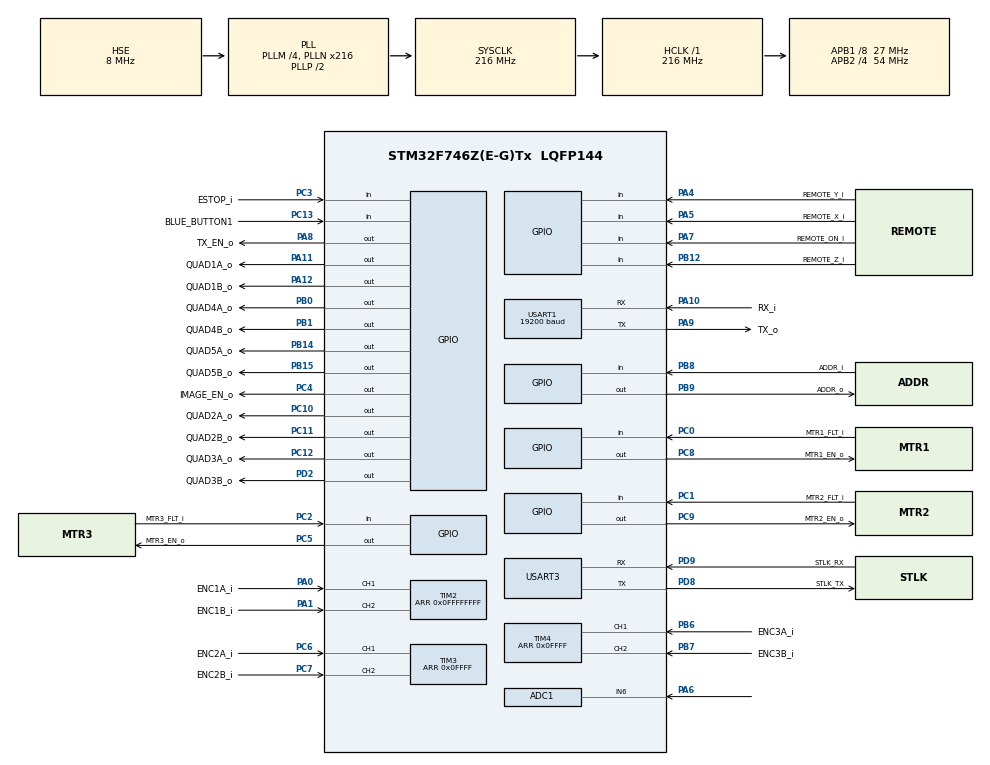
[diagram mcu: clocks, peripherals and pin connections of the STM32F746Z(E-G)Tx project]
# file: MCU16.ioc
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ADC1.Channel-0\#ChannelRegularConversion=ADC_CHANNEL_6
ADC1.ClockPrescaler=ADC_CLOCKPRESCALER_PCLK_DIV2
ADC1.ContinuousConvMode=DISABLE
ADC1.DMAContinuousRequests=DISABLE
ADC1.DataAlign=ADC_DATAALIGN_RIGHT
ADC1.DiscontinuousConvMode=DISABLE
ADC1.EOCSelection=EOC_SINGLE_CONV
ADC1.EnableAnalogWatchDog=false
ADC1.ExternalTrigConvEdge=ADC_EXTERNALTRIGCONVEDGE_NONE
ADC1.InjNumberOfConversion=0
ADC1.NbrOfConversion=1
ADC1.NbrOfConversionFlag=1
ADC1.Rank-0\#ChannelRegularConversion=1
ADC1.Resolution=ADC_RESOLUTION12b
ADC1.SamplingTime-0\#ChannelRegularConversion=ADC_SAMPLETIME_3CYCLES
ADC1.ScanConvMode=DISABLE
ADC1.master=1
Mcu.Family=STM32F7
Mcu.Name=STM32F746Z(E-G)Tx
Mcu.Package=LQFP144
NVIC.PriorityGroup=NVIC_PRIORITYGROUP_4
NVIC.TIM1_BRK_TIM9_IRQn=true\:2\:0\:true
NVIC.TIM1_TRG_COM_TIM11_IRQn=true\:1\:0\:true
NVIC.TIM1_UP_TIM10_IRQn=true\:1\:0\:true
NVIC.TIM8_BRK_TIM12_IRQn=true\:1\:0\:true
NVIC.TIM8_TRG_COM_TIM14_IRQn=true\:1\:0\:true
NVIC.TIM8_UP_TIM13_IRQn=true\:0\:0\:false
NVIC.USART1_IRQn=true\:1\:0\:true
PA0/WKUP.GPIO_Label=ENC1A_i
PA0/WKUP.GPIO_PuPd=GPIO_PULLUP
PA0/WKUP.GPIO_Speed=GPIO_SPEED_FAST
PA0/WKUP.Signal=S_TIM2_CH1_ETR
PA1.GPIO_Label=ENC1B_i
PA1.GPIO_PuPd=GPIO_PULLUP
PA1.GPIO_Speed=GPIO_SPEED_FAST
PA1.Signal=S_TIM2_CH2
PA10.GPIO_Label=RX_i
PA10.Mode=Asynchronous
PA10.Signal=USART1_RX
PA11.GPIO_Label=QUAD1A_o
PA11.GPIO_PuPd=GPIO_PULLUP
PA11.GPIO_Speed=GPIO_SPEED_MEDIUM
PA11.Signal=GPIO_Output
PA12.GPIO_Label=QUAD1B_o
PA12.GPIO_PuPd=GPIO_PULLUP
PA12.GPIO_Speed=GPIO_SPEED_MEDIUM
PA12.Signal=GPIO_Output
PA13.GPIO_Label=TMS
PA13.Mode=Trace-Asynchronous_SW
PA13.Signal=SYS_JTMS-SWDIO
PA14.GPIO_Label=TCK
PA14.Mode=Trace-Asynchronous_SW
PA14.Signal=SYS_JTCK-SWCLK
PA4.GPIO_Label=REMOTE_Y_i
PA4.GPIO_PuPd=GPIO_PULLUP
PA4.Signal=GPIO_Input
PA5.GPIO_Label=REMOTE_X_i
PA5.GPIO_PuPd=GPIO_PULLUP
PA5.Signal=GPIO_Input
PA6.Signal=ADCx_IN6
PA7.GPIO_Label=REMOTE_ON_i
PA7.GPIO_PuPd=GPIO_PULLUP
PA7.Signal=GPIO_Input
PA8.GPIO_Label=TX_EN_o
PA8.GPIO_PuPd=GPIO_PULLDOWN
PA8.Signal=GPIO_Output
PA9.GPIO_Label=TX_o
PA9.Mode=Asynchronous
PA9.Signal=USART1_TX
PB0.GPIO_Label=QUAD4A_o
PB0.GPIO_PuPd=GPIO_PULLUP
PB0.GPIO_Speed=GPIO_SPEED_MEDIUM
PB0.Signal=GPIO_Output
PB1.GPIO_Label=QUAD4B_o
PB1.GPIO_PuPd=GPIO_PULLUP
PB1.GPIO_Speed=GPIO_SPEED_MEDIUM
PB1.Signal=GPIO_Output
PB12.GPIO_Label=REMOTE_Z_i
PB12.GPIO_PuPd=GPIO_PULLUP
PB12.Signal=GPIO_Input
PB14.GPIO_Label=QUAD5A_o
PB14.GPIO_PuPd=GPIO_PULLUP
PB14.GPIO_Speed=GPIO_SPEED_MEDIUM
PB14.Signal=GPIO_Output
PB15.GPIO_Label=QUAD5B_o
PB15.GPIO_PuPd=GPIO_PULLUP
PB15.GPIO_Speed=GPIO_SPEED_MEDIUM
PB15.Signal=GPIO_Output
PB3.GPIO_Label=SWO
PB3.Mode=Trace-Asynchronous_SW
PB3.Signal=SYS_JTDO-SWO
PB6.GPIO_Label=ENC3A_i
PB6.GPIO_PuPd=GPIO_PULLUP
PB6.GPIO_Speed=GPIO_SPEED_FAST
PB6.Signal=S_TIM4_CH1
PB7.GPIO_Label=ENC3B_i
PB7.GPIO_PuPd=GPIO_PULLUP
PB7.GPIO_Speed=GPIO_SPEED_FAST
PB7.Signal=S_TIM4_CH2
PB8.GPIO_Label=ADDR_i
PB8.GPIO_PuPd=GPIO_PULLUP
PB8.Signal=GPIO_Input
PB9.GPIO_Label=ADDR_o
PB9.GPIO_PuPd=GPIO_PULLUP
PB9.PinState=GPIO_PIN_SET
PB9.Signal=GPIO_Output
PC0.GPIO_Label=MTR1_FLT_i
PC0.GPIO_PuPd=GPIO_PULLUP
PC0.Signal=GPIO_Input
PC1.GPIO_Label=MTR2_FLT_i
PC1.GPIO_PuPd=GPIO_PULLUP
PC1.Signal=GPIO_Input
PC10.GPIO_Label=QUAD2A_o
PC10.GPIO_PuPd=GPIO_PULLUP
PC10.GPIO_Speed=GPIO_SPEED_MEDIUM
PC10.Signal=GPIO_Output
PC11.GPIO_Label=QUAD2B_o
PC11.GPIO_PuPd=GPIO_PULLUP
PC11.GPIO_Speed=GPIO_SPEED_MEDIUM
PC11.Signal=GPIO_Output
PC12.GPIO_Label=QUAD3A_o
PC12.GPIO_PuPd=GPIO_PULLUP
PC12.GPIO_Speed=GPIO_SPEED_MEDIUM
PC12.Signal=GPIO_Output
PC13.GPIO_Label=BLUE_BUTTON1
PC13.GPIO_PuPd=GPIO_PULLUP
PC13.Signal=GPIO_Input
PC14/OSC32_IN.Mode=LSE-External-Oscillator
PC14/OSC32_IN.Signal=RCC_OSC32_IN
PC15/OSC32_OUT.Mode=LSE-External-Oscillator
PC15/OSC32_OUT.Signal=RCC_OSC32_OUT
PC2.GPIO_Label=MTR3_FLT_i
PC2.GPIO_PuPd=GPIO_PULLUP
PC2.Signal=GPIO_Input
PC3.GPIO_Label=ESTOP_i
PC3.GPIO_PuPd=GPIO_PULLUP
PC3.Signal=GPIO_Input
PC4.GPIO_Label=IMAGE_EN_o
PC4.GPIO_PuPd=GPIO_PULLUP
PC4.Signal=GPIO_Output
PC5.GPIO_Label=MTR3_EN_o
PC5.GPIO_PuPd=GPIO_PULLUP
PC5.Signal=GPIO_Output
PC6.GPIO_Label=ENC2A_i
PC6.GPIO_PuPd=GPIO_PULLUP
PC6.GPIO_Speed=GPIO_SPEED_FAST
PC6.Signal=S_TIM3_CH1
PC7.GPIO_Label=ENC2B_i
PC7.GPIO_PuPd=GPIO_PULLUP
PC7.GPIO_Speed=GPIO_SPEED_FAST
PC7.Signal=S_TIM3_CH2
PC8.GPIO_Label=MTR1_EN_o
PC8.GPIO_PuPd=GPIO_PULLUP
PC8.Signal=GPIO_Output
PC9.GPIO_Label=MTR2_EN_o
PC9.GPIO_PuPd=GPIO_PULLUP
PC9.Signal=GPIO_Output
PD2.GPIO_Label=QUAD3B_o
PD2.GPIO_PuPd=GPIO_PULLUP
PD2.GPIO_Speed=GPIO_SPEED_MEDIUM
PD2.Signal=GPIO_Output
PD8.GPIO_Label=STLK_TX
PD8.Mode=Asynchronous
PD8.Signal=USART3_TX
PD9.GPIO_Label=STLK_RX
PD9.Mode=Asynchronous
PD9.Signal=USART3_RX
PH0/OSC_IN.GPIO_Label=RCC_OSC_IN
PH0/OSC_IN.Mode=HSE-External-Clock-Source
PH0/OSC_IN.Signal=RCC_OSC_IN
PH1/OSC_OUT.GPIO_Label=RCC_OSC_OUT
PH1/OSC_OUT.Mode=HSE-External-Clock-Source
PH1/OSC_OUT.Signal=RCC_OSC_OUT
ProjectManager.HeapSize=0x400
ProjectManager.StackSize=0x200
ProjectManager.TargetToolchain=EWARM
RCC.48MHZClocksFreq_Value=24000000
RCC.AHBFreq_Value=216000000
RCC.APB1CLKDivider=RCC_HCLK_DIV8
RCC.APB1Freq_Value=27000000
RCC.APB1TimFreq_Value=54000000
RCC.APB2CLKDivider=RCC_HCLK_DIV4
RCC.APB2Freq_Value=54000000
RCC.APB2TimFreq_Value=108000000
RCC.CortexFreq_Value=216000000
RCC.HCLKFreq_Value=216000000
RCC.HSE_VALUE=8000000
RCC.HSI_VALUE=8000000
RCC.PLLM=4
RCC.PLLMUL=RCC_PLL_MUL9
RCC.PLLN=216
RCC.PLLQ=9
RCC.PLLSourceVirtual=RCC_PLLSOURCE_HSE
RCC.PRESCALERUSB=RCC_USBPLLCLK_DIV1_5
RCC.SYSCLKFreq_VALUE=216000000
RCC.SYSCLKSource=RCC_SYSCLKSOURCE_PLLCLK
RCC.SYSCLKSourceVirtual=RCC_SYSCLKSOURCE_PLLCLK
RCC.USBFreq_Value=48000000
RCC.VCOOutputFreq_Value=432000000
SH.ADCx_IN6.0=ADC1_IN6,IN6
SH.S_TIM2_CH1_ETR.0=TIM2_CH1,Encoder_Interface
SH.S_TIM2_CH2.0=TIM2_CH2,Encoder_Interface
SH.S_TIM3_CH1.0=TIM3_CH1,Encoder_Interface
SH.S_TIM3_CH2.0=TIM3_CH2,Encoder_Interface
SH.S_TIM4_CH1.0=TIM4_CH1,Encoder_Interface
SH.S_TIM4_CH2.0=TIM4_CH2,Encoder_Interface
TIM10.Period=0x0FFFF
TIM10.Prescaler=108
TIM11.Period=0x0FFFF
TIM11.Prescaler=108
TIM12.Period=0x0FFFF
TIM12.Prescaler=54
TIM13.Period=0x0FFFF
TIM13.Prescaler=54
TIM14.Period=0x0FFFF
TIM14.Prescaler=54
TIM2.EncoderMode=TIM_ENCODERMODE_TI12
TIM2.IC1Filter=4
TIM2.IC2Filter=4
TIM2.Period=0x0FFFFFFFF
TIM3.CounterMode=TIM_COUNTERMODE_UP
TIM3.EncoderMode=TIM_ENCODERMODE_TI12
TIM3.IC1Filter=4
TIM3.IC2Filter=4
TIM3.Period=0x0FFFF
TIM3.TIM_MasterSlaveMode=TIM_MASTERSLAVEMODE_DISABLE
TIM4.EncoderMode=TIM_ENCODERMODE_TI12
TIM4.IC1Filter=4
TIM4.IC2Filter=4
TIM4.Period=0x0FFFF
TIM5.Period=0x0FFFFFFFF
TIM5.Prescaler=54
TIM9.Period=0x0FFFF
TIM9.Prescaler=108
USART1.BaudRate=19200
USART1.WordLength=UART_WORDLENGTH_8B
VP_TIM10_VS_ClockSourceINT.Mode=Enable_Timer
VP_TIM11_VS_ClockSourceINT.Mode=Enable_Timer
VP_TIM12_VS_ClockSourceINT.Mode=Internal
VP_TIM13_VS_ClockSourceINT.Mode=Enable_Timer
VP_TIM14_VS_ClockSourceINT.Mode=Enable_Timer
VP_TIM5_VS_ClockSourceINT.Mode=Internal
VP_TIM9_VS_ClockSourceINT.Mode=Internal
board=NUCLEO-F746ZG

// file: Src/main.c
/**
  ******************************************************************************
  * File Name          : main.c
  * Description        : Main program body
  ******************************************************************************
  *
  * COPYRIGHT(c) 2016 Atco Inc.
  *
  ******************************************************************************
  */
#include "stm32f7xx_hal.h"
#include "adc.h"
#include "tim.h"
#include "usart.h"
#include "gpio.h"

/* USER CODE BEGIN Includes */

#include "mcu16.h"
#include "mcu_global.h"

/* USER CODE END Includes */

/* USER CODE BEGIN PV */
/* Private variables ---------------------------------------------------------*/

/* USER CODE END PV */

void SystemClock_Config(void);

/* USER CODE BEGIN PFP */
/* Private function prototypes -----------------------------------------------*/

/* USER CODE END PFP */

int main(void)
{

  /* MCU Configuration----------------------------------------------------------*/

  /* Reset of all peripherals, Initializes the Flash interface and the Systick. */
  HAL_Init();

  /* Configure the system clock */
  SystemClock_Config();

  /* Initialize all configured peripherals */
  MX_GPIO_Init();
  MX_USART3_UART_Init();
  MX_TIM3_Init();
  MX_TIM2_Init();
  MX_TIM4_Init();
  MX_USART1_UART_Init();
  MX_TIM14_Init();
  MX_TIM13_Init();
  MX_TIM5_Init();
  MX_TIM9_Init();
  MX_TIM10_Init();
  MX_TIM11_Init();
  MX_TIM12_Init();
  MX_ADC1_Init();

  /* USER CODE BEGIN 2 */
  InitMode();             // initialize mode
  InitEncoders();         // initialize encoders 1,2,3
  InitComVar();           // initialize command variables
  InitOutputs();          // initialize Quad outputs
  InitGPIO();             // initialize GPIO
  InitPathBuf();          // initialize path buffer

  quad_out=0;                     //1=quar out, 0=step / dir **use command**

  HAL_TIM_Base_Start(&htim5);     // start general purpose test timer 5, 1 usec resolution
  /* USER CODE END 2 */

  /* Infinite loop */
  /* USER CODE BEGIN WHILE */

  testit=0;
  testit2=0;

  while (1)
  {

    testit=TIM5->CNT;                    // get general purpose timer, debug

  //    HAL_NVIC_SystemReset();  need to test this !!!!!!!

    if(cmd_ready)
      DecodeCmd();                        // decode command

    if(module_addr!=0) {                  // check for errors if module is initialized
        if(GetFault()){                   // get servo fault status and emergency stop status
          StopMotion();                   // stop motion if fault is detected
        }

        if(enc_error_flg){                // check for encoder position error
          StopMotion();                 // stop motion if fault is detected
        }
  }

  CheckRemote();                        // Check remote control

  EncUpdate();                          // update encoders, **replace with interrupt

// loop timer - debug
//   testit=TIM5->CNT-testit;                       // get counter, debug
//    if(testit>0)                          // check for rollover
//       debug_printf("time = %d  usec\n",testit);  // print loop time, debug

  /* USER CODE END WHILE */

  }

}

/** System Clock Configuration
*/
void SystemClock_Config(void)
{

  RCC_OscInitTypeDef RCC_OscInitStruct;
  RCC_ClkInitTypeDef RCC_ClkInitStruct;
  RCC_PeriphCLKInitTypeDef PeriphClkInitStruct;

  __PWR_CLK_ENABLE();

  __HAL_PWR_VOLTAGESCALING_CONFIG(PWR_REGULATOR_VOLTAGE_SCALE1);

  RCC_OscInitStruct.OscillatorType = RCC_OSCILLATORTYPE_HSE;
  RCC_OscInitStruct.HSEState = RCC_HSE_BYPASS;
  RCC_OscInitStruct.PLL.PLLState = RCC_PLL_ON;
  RCC_OscInitStruct.PLL.PLLSource = RCC_PLLSOURCE_HSE;
  RCC_OscInitStruct.PLL.PLLM = 4;
  RCC_OscInitStruct.PLL.PLLN = 216;
  RCC_OscInitStruct.PLL.PLLP = RCC_PLLP_DIV2;
  RCC_OscInitStruct.PLL.PLLQ = 9;
  HAL_RCC_OscConfig(&RCC_OscInitStruct);

  HAL_PWREx_ActivateOverDrive();

  RCC_ClkInitStruct.ClockType = RCC_CLOCKTYPE_HCLK|RCC_CLOCKTYPE_SYSCLK
                              |RCC_CLOCKTYPE_PCLK1|RCC_CLOCKTYPE_PCLK2;
  RCC_ClkInitStruct.SYSCLKSource = RCC_SYSCLKSOURCE_PLLCLK;
  RCC_ClkInitStruct.AHBCLKDivider = RCC_SYSCLK_DIV1;
  RCC_ClkInitStruct.APB1CLKDivider = RCC_HCLK_DIV8;
  RCC_ClkInitStruct.APB2CLKDivider = RCC_HCLK_DIV4;
  HAL_RCC_ClockConfig(&RCC_ClkInitStruct, FLASH_LATENCY_7);

  PeriphClkInitStruct.PeriphClockSelection = RCC_PERIPHCLK_USART1|RCC_PERIPHCLK_USART3;
  PeriphClkInitStruct.Usart1ClockSelection = RCC_USART1CLKSOURCE_PCLK2;
  PeriphClkInitStruct.Usart3ClockSelection = RCC_USART3CLKSOURCE_PCLK1;
  HAL_RCCEx_PeriphCLKConfig(&PeriphClkInitStruct);

  HAL_SYSTICK_Config(HAL_RCC_GetHCLKFreq()/1000);

  HAL_SYSTICK_CLKSourceConfig(SYSTICK_CLKSOURCE_HCLK);

  /* SysTick_IRQn interrupt configuration */
  HAL_NVIC_SetPriority(SysTick_IRQn, 0, 0);
}

/************************ (C) COPYRIGHT STMicroelectronics *****END OF FILE****/
